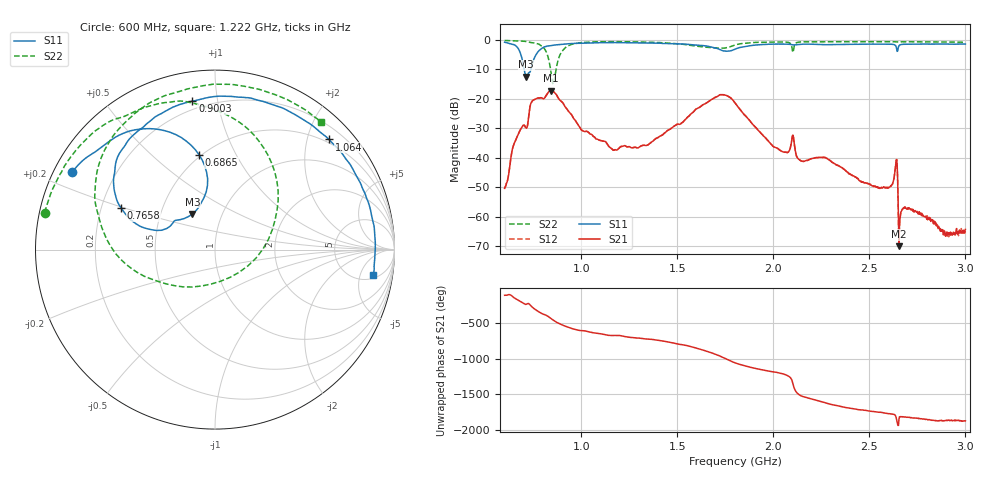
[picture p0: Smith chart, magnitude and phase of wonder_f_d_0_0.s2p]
#  HZ  S  RI  R  50.00
! Rohde & Schwarz ZVB8 2Ports - Version 2.81 - 1145.1010k08 SN: 100113
! Date: 2016-05-12 03:16:32
! Measurements: S11 S21 S12 S22
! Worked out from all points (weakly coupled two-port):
!   1000 points, 600 MHz to 3 GHz, reference 50 ohm
!   highest |S21| = -17.27 dB at 840.2 MHz (marker M1); lowest = -70.1 dB at 2.654 GHz (marker M2)
!   lowest |S11| = -12.6 dB at 712.9 MHz (marker M3), VSWR 1.61, Z = 36.1 + j15.1 ohm
!   |S11| at or under -10 dB: 701.6 MHz to 737 MHz (35.36 MHz wide, 4.92 % of centre)
!   |S22| runs from -15.1 to -0.3 dB; largest |S21 - S12| = 0.0013
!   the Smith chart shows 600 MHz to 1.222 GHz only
!   S11 on the Smith chart (normalised r, x): 600 MHz: 0.05, +0.25; 686.5 MHz: 0.49, +0.72; 765.8 MHz: 0.28, +0.19; 900.3 MHz: 0.15, +0.85; 1.064 GHz: 0.43, +2.41; 1.222 GHz: 6, -8
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6e8  -0.7983 0.4308  -0.000854 -0.00288  -0.000866 -0.00287  -0.9491 0.2058
6.864865e8  -0.0885 0.5281  -0.0293 0.0112  -0.0293 0.0111  -0.7426 0.5894
7.129129e8  -0.1263 0.1979  -0.0188 0.0254  -0.0191 0.0253  -0.624 0.6918
7.657658e8  -0.5221 0.2299  0.0748 0.0671  0.0744 0.0666  -0.2787 0.8191
8.066066e8  -0.5337 0.534  0.0967 -0.0298  0.097 -0.03  0.1636 0.6892
8.402402e8  -0.3983 0.6836  0.044 -0.1297  0.0438 -0.1295  0.2975 0.0566
8.642643e8  -0.2978 0.7584  -0.0537 -0.1106  -0.0536 -0.1108  -0.1772 -0.2078
9.003003e8  -0.1256 0.8268  -0.0836 -0.0248  -0.0834 -0.0248  -0.6301 0.1211
1.001201e9  0.3753 0.7894  -0.0124 0.0263  -0.0125 0.0263  -0.3694 0.8144
1.063664e9  0.6352 0.6136  0.00228 0.0226  0.00226 0.0226  -0.0703 0.9125
1.222222e9  0.881 -0.1427  0.0131 0.00895  0.013 0.00897  0.588 0.7122
1.4e9  0.345 -0.8019  0.0205 -0.00787  0.0206 -0.0079  0.8939 0.0684
1.618619e9  -0.5257 -0.6017  -0.0605 -0.0398  -0.0606 -0.0398  0.5373 -0.5393
1.801201e9  -0.6657 -0.1923  0.0786 0.0291  0.0788 0.0293  0.3073 -0.7556
1.974174e9  -0.7291 0.4148  -0.00168 -0.0189  -0.0017 -0.0189  -0.237 -0.8759
2.2e9  0.0101 0.8393  -0.00592 -0.00762  -0.00592 -0.00752  -0.7182 -0.5798
2.425826e9  0.7487 0.3722  -4.02e-05 0.00466  -3.94e-05 0.00467  -0.924 -0.0794
2.601201e9  0.7487 -0.3817  0.00279 0.0013  0.00285 0.00132  -0.8694 0.3104
2.634835e9  0.6099 -0.524  0.00653 9.18e-05  0.0065 9.7e-05  -0.8403 0.3762
2.654054e9  0.6569 -0.4355  0.000183 -0.000255  0.000215 -0.000279  -0.8248 0.41
2.800601e9  0.1412 -0.8298  0.000533 -0.000794  0.000605 -0.000833  -0.6211 0.677
3e9  -0.5479 -0.6416  0.000132 -0.000591  9.65e-05 -0.000565  -0.1946 0.8845
